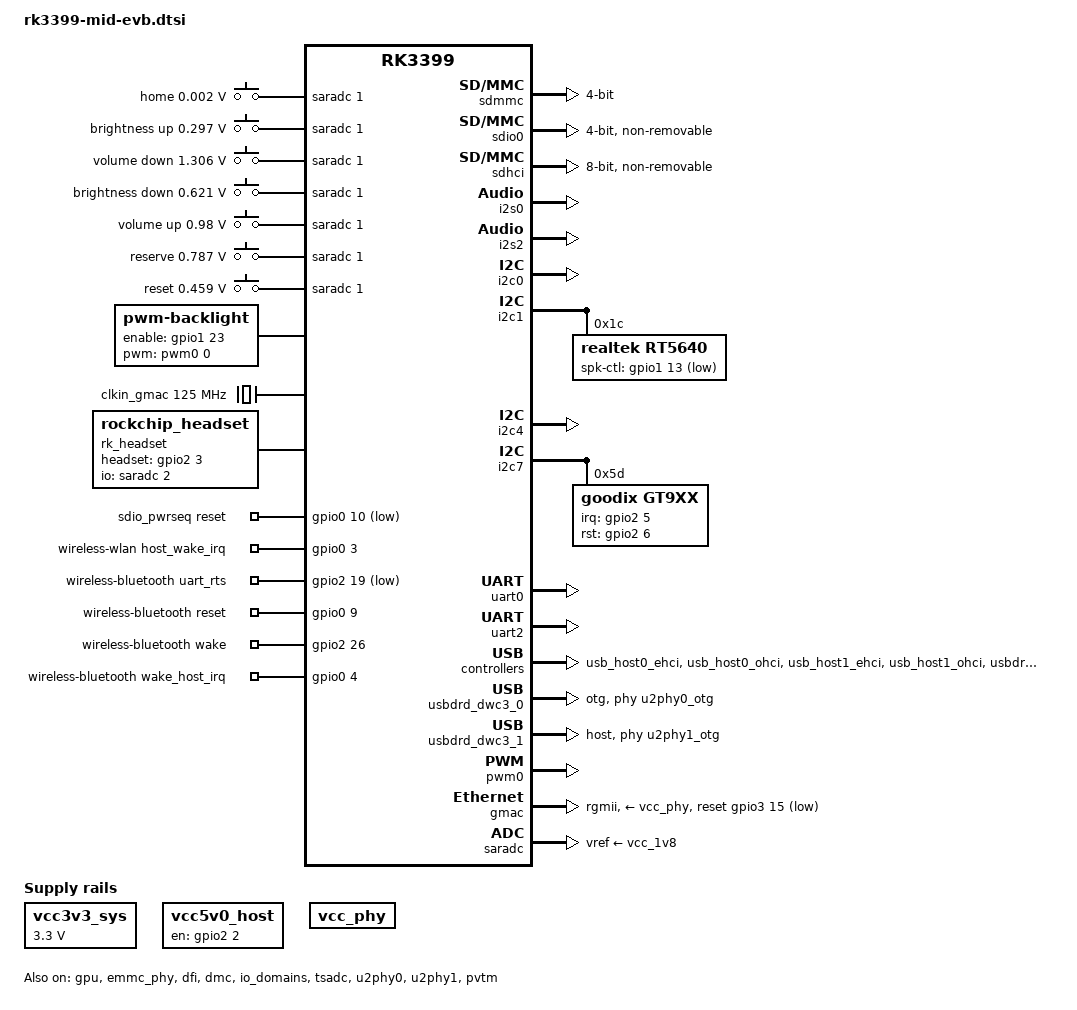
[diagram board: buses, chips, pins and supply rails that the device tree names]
/*
 * Copyright (c) 2016 Fuzhou Rockchip Electronics Co., Ltd
 *
 * This file is dual-licensed: you can use it either under the terms
 * of the GPL or the X11 license, at your option. Note that this dual
 * licensing only applies to this file, and not this project as a
 * whole.
 *
 *  a) This file is free software; you can redistribute it and/or
 *     modify it under the terms of the GNU General Public License as
 *     published by the Free Software Foundation; either version 2 of the
 *     License, or (at your option) any later version.
 *
 *     This file is distributed in the hope that it will be useful,
 *     but WITHOUT ANY WARRANTY; without even the implied warranty of
 *     MERCHANTABILITY or FITNESS FOR A PARTICULAR PURPOSE.  See the
 *     GNU General Public License for more details.
 *
 * Or, alternatively,
 *
 *  b) Permission is hereby granted, free of charge, to any person
 *     obtaining a copy of this software and associated documentation
 *     files (the "Software"), to deal in the Software without
 *     restriction, including without limitation the rights to use,
 *     copy, modify, merge, publish, distribute, sublicense, and/or
 *     sell copies of the Software, and to permit persons to whom the
 *     Software is furnished to do so, subject to the following
 *     conditions:
 *
 *     The above copyright notice and this permission notice shall be
 *     included in all copies or substantial portions of the Software.
 *
 *     THE SOFTWARE IS PROVIDED "AS IS", WITHOUT WARRANTY OF ANY KIND,
 *     EXPRESS OR IMPLIED, INCLUDING BUT NOT LIMITED TO THE WARRANTIES
 *     OF MERCHANTABILITY, FITNESS FOR A PARTICULAR PURPOSE AND
 *     NONINFRINGEMENT. IN NO EVENT SHALL THE AUTHORS OR COPYRIGHT
 *     HOLDERS BE LIABLE FOR ANY CLAIM, DAMAGES OR OTHER LIABILITY,
 *     WHETHER IN AN ACTION OF CONTRACT, TORT OR OTHERWISE, ARISING
 *     FROM, OUT OF OR IN CONNECTION WITH THE SOFTWARE OR THE USE OR
 *     OTHER DEALINGS IN THE SOFTWARE.
 */

#include <dt-bindings/input/input.h>
#include <dt-bindings/pwm/pwm.h>
#include "rk3399.dtsi"
#include "rk3399-opp.dtsi"

/ {
	compatible = "rockchip,rk3399-evb", "rockchip,rk3399";

	adc_keys: adc-keys {
		compatible = "adc-keys";
		io-channels = <&saradc 1>;
		io-channel-names = "buttons";
		keyup-threshold-microvolt = <1800000>;
		poll-interval = <100>;

		home-key {
			label = "home";
			linux,code = <KEY_HOME>;
			press-threshold-microvolt = <1750>;
		};

		brightness-up-key {
			label = "brightness up";
			linux,code = <KEY_BRIGHTNESSUP>;
			press-threshold-microvolt = <297500>;
		};

		vol-down-key {
			label = "volume down";
			linux,code = <KEY_VOLUMEDOWN>;
			press-threshold-microvolt = <1305500>;
		};

		brightness-down-key {
			label = "brightness down";
			linux,code = <KEY_BRIGHTNESSDOWN>;
			press-threshold-microvolt = <621250>;
		};

		vol-up-key {
			label = "volume up";
			linux,code = <KEY_VOLUMEUP>;
			press-threshold-microvolt = <980000>;
		};

		reserve-key {
			label = "reserve";
			linux,code = <KEY_RESERVE>;
			press-threshold-microvolt = <787500>;
		};

		reset-key {
			label = "reset";
			linux,code = <KEY_RESET>;
			press-threshold-microvolt = <459380>;
		};
	};

	vcc3v3_sys: vcc3v3-sys {
		compatible = "regulator-fixed";
		regulator-name = "vcc3v3_sys";
		regulator-always-on;
		regulator-boot-on;
		regulator-min-microvolt = <3300000>;
		regulator-max-microvolt = <3300000>;
	};

	vcc5v0_host: vcc5v0-host-regulator {
		compatible = "regulator-fixed";
		enable-active-high;
		gpio = <&gpio2 2 GPIO_ACTIVE_HIGH>;
		pinctrl-names = "default";
		pinctrl-0 = <&host_vbus_drv>;
		regulator-name = "vcc5v0_host";
		regulator-always-on;
	};

	backlight: backlight {
		status ="okay";
		compatible = "pwm-backlight";
		pwms = <&pwm0 0 2500000 0>;

		brightness-levels = <
			80  80  80  80  80  80  80  80
			80  80  80  80  80  80  80  80
			80  80  80  80  80  80  80  80
			80  80  80  80  80  80  80  80
			80  80  80  80  80  80  80  80
			80  81  82  83  84  85  86  87
			88  89  90  91  92  93  94  95
			96  97  98  99  100 101 102 103
			104 105 106 107 108 109 110 111
			112 113 114 115 116 117 118 119
			120 121 122 123 124 125 126 127
			128 129 130 131 132 133 134 135
			136 137 138 139 140 141 142 143
			144 145 146 147 148 149 150 151
			152 153 154 155 156 157 158 159
			160 161 162 163 164 165 166 167
			168 169 170 171 172 173 174 175
			176 177 178 179 180 181 182 183
			184 185 186 187 188 189 190 191
			192 193 194 195 196 197 198 199
			200 201 202 203 204 205 206 207
			208 209 210 211 212 213 214 215
			216 217 218 219 220 221 222 223
			224 225 226 227 228 229 230 231
			232 233 234 235 236 237 238 239
			240 241 242 243 244 245 246 247
			248 249 250 251 252 253 253 253
			253 253 253 253 253 253 253 253
			253 253 253 253 253 253 253 253
			253 253 253 253 253 253 253 253
			253 253 253 253 253 253 253 253
			253 253 253 253 253 253 253 253>;
		brightness-levels2 = <
			253 253 253 253 253 253 253 253
			253 253 253 253 253 253 253 253
			253 253 253 253 253 253 253 253
			253 253 253 253 253 253 253 253
			253 253 253 253 253 253 253 253
			253 253 253 252 251 250 249 248
			247 246 245 244 243 242 241 240
			239 238 237 236 235 234 233 232
			231 230 229 228 227 226 225 224
			223 222 221 220 219 218 217 216
			215 214 213 212 211 210 209 208
			207 206 205 204 203 202 201 200
			199 198 197 196 195 194 193 192
			191 190 189 188 187 186 185 184
			183 182 181 180 179 178 177 176
			175 174 173 172 171 170 169 168
			167 166 165 164 163 162 161 160
			159 158 157 156 155 154 153 152
			151 150 149 148 147 146 145 144
			143 142 141 140 139 138 137 136
			135 134 133 132 131 130 129 128
			127 126 125 124 123 122 121 120
			119 118 117 116 115 114 113 112
			111 110 109 108 107 106 105 104
			232 233 234 235 236 237 238 239
			240 241 242 243 244 245 246 247
			103 102 101 100 99  98  97  96
			95  94  93  92  91  90  89  88
			87  86  85  84  83  82  81  80
			80  80  80  80  80  80  80  80
			80  80  80  80  80  80  80  80
			80  80  80  80  80  80  80  80>;
		default-brightness-level = <200>;
		enable-gpios = <&gpio1 23 GPIO_ACTIVE_HIGH>;
	};

	clkin_gmac: external-gmac-clock {
		compatible = "fixed-clock";
		clock-frequency = <125000000>;
		clock-output-names = "clkin_gmac";
		#clock-cells = <0>;
	};

	vcc_phy: vcc-phy-regulator {
		compatible = "regulator-fixed";
		regulator-name = "vcc_phy";
		regulator-always-on;
		regulator-boot-on;
	};

	rt5640-sound {
		status = "okay";
		compatible = "simple-audio-card";
		simple-audio-card,format = "i2s";
		simple-audio-card,name = "rockchip,rt5640-codec";
		simple-audio-card,mclk-fs = <256>;
		simple-audio-card,widgets =
			"Microphone", "Mic Jack",
			"Headphone", "Headphone Jack";
		simple-audio-card,routing =
			"Mic Jack", "MICBIAS1",
			"IN1P", "Mic Jack",
			"Headphone Jack", "HPOL",
			"Headphone Jack", "HPOR";
		simple-audio-card,cpu {
			sound-dai = <&i2s0>;
		};
		simple-audio-card,codec {
			sound-dai = <&rt5640>;
		};
	};
	
	rk_headset {
		compatible = "rockchip_headset";
		headset_gpio = <&gpio2 3 GPIO_ACTIVE_HIGH>;
		pinctrl-names = "default";
		pinctrl-0 = <&hp_det>;
		io-channels = <&saradc 2>;
		status = "okay";
	};

	hdmi_sound: hdmi-sound {
		status = "okay";
		compatible = "simple-audio-card";
		simple-audio-card,format = "i2s";
		simple-audio-card,mclk-fs = <256>;
		simple-audio-card,name = "rockchip,hdmi";
		simple-audio-card,cpu {
			sound-dai = <&i2s2>;
		};
		simple-audio-card,codec {
			sound-dai = <&hdmi>;
		};
	};

	dw_hdmi_audio: dw-hdmi-audio {
		status = "disabled";
		compatible = "rockchip,dw-hdmi-audio";
		#sound-dai-cells = <0>;
	};

	spdif_sound: spdif-sound {
		status = "disabled";
		compatible = "simple-audio-card";
		simple-audio-card,name = "ROCKCHIP,SPDIF";
		simple-audio-card,cpu {
			sound-dai = <&spdif>;
		};
		simple-audio-card,codec {
			sound-dai = <&spdif_out>;
		};
	};

	spdif_out: spdif-out {
		status = "disabled";
		compatible = "linux,spdif-dit";
		#sound-dai-cells = <0>;
	};

	sdio_pwrseq: sdio-pwrseq {
		compatible = "mmc-pwrseq-simple";
		clocks = <&rk808 1>;
		clock-names = "ext_clock";
		pinctrl-names = "default";
		pinctrl-0 = <&wifi_enable_h>;

		/*
		 * On the module itself this is one of these (depending
		 * on the actual card populated):
		 * - SDIO_RESET_L_WL_REG_ON
		 * - PDN (power down when low)
		 */
		reset-gpios = <&gpio0 10 GPIO_ACTIVE_LOW>; /* GPIO0_B2 */
	};

	wireless-wlan {
		compatible = "wlan-platdata";
		rockchip,grf = <&grf>;
		wifi_chip_type = "ap6354";
		sdio_vref = <1800>;
		WIFI,host_wake_irq = <&gpio0 3 GPIO_ACTIVE_HIGH>; /* GPIO0_a3 */
		status = "okay";
	};

	wireless-bluetooth {
		compatible = "bluetooth-platdata";
		clocks = <&rk808 1>;
		clock-names = "ext_clock";
		//wifi-bt-power-toggle;
		uart_rts_gpios = <&gpio2 19 GPIO_ACTIVE_LOW>; /* GPIO2_C3 */
		pinctrl-names = "default", "rts_gpio";
		pinctrl-0 = <&uart0_rts>, <&bt_reset_gpio>, <&bt_wake_gpio>, <&bt_irq_gpio>;
		pinctrl-1 = <&uart0_gpios>;
		//BT,power_gpio  = <&gpio3 19 GPIO_ACTIVE_HIGH>; /* GPIOx_xx */
		BT,reset_gpio    = <&gpio0 9 GPIO_ACTIVE_HIGH>; /* GPIO0_B1 */
		BT,wake_gpio     = <&gpio2 26 GPIO_ACTIVE_HIGH>; /* GPIO2_D2 */
		BT,wake_host_irq = <&gpio0 4 GPIO_ACTIVE_HIGH>; /* GPIO0_A4 */
		status = "okay";
	};

	test-power {
		status = "okay";
	};
};

&cpu_l0 {
	cpu-supply = <&vdd_cpu_l>;
};

&cpu_l1 {
	cpu-supply = <&vdd_cpu_l>;
};

&cpu_l2 {
	cpu-supply = <&vdd_cpu_l>;
};

&cpu_l3 {
	cpu-supply = <&vdd_cpu_l>;
};

&cpu_b0 {
	cpu-supply = <&vdd_cpu_b>;
};

&cpu_b1 {
	cpu-supply = <&vdd_cpu_b>;
};

&gpu {
	status = "okay";
	mali-supply = <&vdd_gpu>;
};

&sdmmc {
	clock-frequency = <150000000>;
	clock-freq-min-max = <400000 150000000>;
	supports-sd;
	bus-width = <4>;
	cap-mmc-highspeed;
	cap-sd-highspeed;
	disable-wp;
	num-slots = <1>;
	//sd-uhs-sdr104;
	vqmmc-supply = <&vcc_sd>;
	pinctrl-names = "default";
	pinctrl-0 = <&sdmmc_clk &sdmmc_cmd &sdmmc_cd &sdmmc_bus4>;
	status = "okay";
};

&sdio0 {
	clock-frequency = <150000000>;
	clock-freq-min-max = <200000 150000000>;
	supports-sdio;
	bus-width = <4>;
	disable-wp;
	cap-sd-highspeed;
	cap-sdio-irq;
	keep-power-in-suspend;
	mmc-pwrseq = <&sdio_pwrseq>;
	non-removable;
	num-slots = <1>;
	pinctrl-names = "default";
	pinctrl-0 = <&sdio0_bus4 &sdio0_cmd &sdio0_clk>;
	sd-uhs-sdr104;
	status = "okay";
};

&emmc_phy {
	status = "okay";
};

&dfi {
	status = "okay";
};

&dmc {
	status = "okay";
	center-supply = <&vdd_center>;
	upthreshold = <40>;
	downdifferential = <20>;
	system-status-freq = <
		/*system status         freq(KHz)*/
		SYS_STATUS_NORMAL       800000
		SYS_STATUS_REBOOT       528000
		SYS_STATUS_SUSPEND      200000
		SYS_STATUS_VIDEO_1080P  200000
		SYS_STATUS_VIDEO_4K     600000
		SYS_STATUS_VIDEO_4K_10B 800000
		SYS_STATUS_PERFORMANCE  800000
		SYS_STATUS_BOOST        400000
		SYS_STATUS_DUALVIEW     600000
		SYS_STATUS_ISP          600000
	>;
	vop-bw-dmc-freq = <
	/* min_bw(MB/s) max_bw(MB/s) freq(KHz) */
		0       577      200000
		578     1701     300000
		1702    99999    400000
	>;
	auto-min-freq = <200000>;
};

&sdhci {
	bus-width = <8>;
	mmc-hs400-1_8v;
	supports-emmc;
	non-removable;
	keep-power-in-suspend;
	mmc-hs400-enhanced-strobe;
	status = "okay";
};

&i2s0 {
	status = "okay";
	rockchip,i2s-broken-burst-len;
	rockchip,playback-channels = <8>;
	rockchip,capture-channels = <8>;
	#sound-dai-cells = <0>;
};

&i2s2 {
	status = "okay";
	#sound-dai-cells = <0>;
};

&spdif {
	#sound-dai-cells = <0>;
};

&i2c0 {
	status = "okay";
	i2c-scl-rising-time-ns = <450>;
	i2c-scl-falling-time-ns = <15>;
};

&i2c1 {
	status = "okay";
	i2c-scl-rising-time-ns = <300>;
	i2c-scl-falling-time-ns = <15>;

	rt5640: rt5640@1c {
		status = "okay";
		#sound-dai-cells = <0>;
		compatible = "realtek,rt5640";
		reg = <0x1c>;
		clocks = <&cru SCLK_I2S_8CH_OUT>;
		clock-names = "mclk";
		spk-ctl-gpio = <&gpio1 13 GPIO_ACTIVE_LOW>;
		realtek,in1-differential;
		pinctrl-names = "default";
		pinctrl-0 = <&i2s_8ch_mclk>;
	};
};

&i2c4 {
	status = "okay";
	i2c-scl-rising-time-ns = <600>;
	i2c-scl-falling-time-ns = <20>;

};

&i2c7 {
	status = "okay";
	i2c-scl-rising-time-ns = <345>;
	i2c-scl-falling-time-ns = <11>;
	gt9xx: gt9xx@5d {
		compatible = "goodix,gt9xx";
		reg = <0x5d>;
		goodix,irq-gpio = <&gpio2 5 IRQ_TYPE_LEVEL_LOW>;
		goodix,rst-gpio = <&gpio2 6 GPIO_ACTIVE_HIGH>;
		max-x = <1366>;
		max-y = <768>;
//		tp-size = <911>;
//		tp-supply = <&vcc3v0_tp>;
	};
};

&io_domains {
	status = "okay";

	bt656-supply = <&vcc3v0_tp>;
	audio-supply = <&vcca1v8_codec>;
	sdmmc-supply = <&vcc_sd>;
	gpio1830-supply = <&vcc_3v0>;
};

&pcie_phy {
	status = "disabled";
};

&pcie0 {
	ep-gpios = <&gpio3 13 GPIO_ACTIVE_HIGH>;
	num-lanes = <4>;
	pinctrl-names = "default";
	pinctrl-0 = <&pcie_clkreqn_cpm>;
	status = "disabled";
};

&tcphy0 {
	extcon = <&fusb0>;
	status = "disabled";
};

&tcphy1 {
	extcon = <&fusb1>;
	status = "disabled";
};

&tsadc {
	rockchip,hw-tshut-mode = <1>; /* tshut mode 0:CRU 1:GPIO */
	rockchip,hw-tshut-polarity = <1>; /* tshut polarity 0:LOW 1:HIGH */
	status = "okay";
};

&u2phy0 {
	status = "okay";

	u2phy0_otg: otg-port {
		status = "okay";
	};

	u2phy0_host: host-port {
		phy-supply = <&vcc5v0_host>;
		status = "okay";
	};
};

&u2phy1 {
	status = "okay";

	u2phy1_otg: otg-port {
		status = "okay";
	};

	u2phy1_host: host-port {
		phy-supply = <&vcc5v0_host>;
		status = "okay";
	};
};

&uart0 {
	pinctrl-names = "default";
	pinctrl-0 = <&uart0_xfer &uart0_cts>;
	status = "okay";
};

&uart2 {
	status = "okay";
};

&usb_host0_ehci {
	status = "okay";
};

&usb_host0_ohci {
	status = "okay";
};

&usb_host1_ehci {
	status = "okay";
};

&usb_host1_ohci {
	status = "okay";
};

&usbdrd3_0 {
	extcon = <&u2phy0>;
	status = "okay";
};

&usbdrd_dwc3_0 {
	status = "okay";
	dr_mode = "otg";
	extcon = <&u2phy0>;
	phys = <&u2phy0_otg>;
	phy-names = "usb2-phy";
	maximum-speed = "high-speed";
};

&usbdrd3_1 {
	extcon = <&u2phy1>;
	status = "okay";
};

&usbdrd_dwc3_1 {
	status = "okay";
	dr_mode = "host";
	phys = <&u2phy1_otg>;
	phy-names = "usb2-phy";
	maximum-speed = "high-speed";
};

&pwm0 {
	status = "okay";
};

&gmac {
	phy-supply = <&vcc_phy>;
	phy-mode = "rgmii";
	clock_in_out = "input";
	snps,reset-gpio = <&gpio3 15 GPIO_ACTIVE_LOW>;
	snps,reset-active-low;
	snps,reset-delays-us = <0 10000 50000>;
	assigned-clocks = <&cru SCLK_RMII_SRC>;
	assigned-clock-parents = <&clkin_gmac>;
	pinctrl-names = "default";
	pinctrl-0 = <&rgmii_pins>;
	tx_delay = <0x28>;
	rx_delay = <0x11>;
	status = "okay";
};

&saradc {
	status = "okay";
	vref-supply = <&vcc_1v8>;
};

&pinctrl {
	sdio-pwrseq {
		wifi_enable_h: wifi-enable-h {
			rockchip,pins = <0 RK_PB2 RK_FUNC_GPIO &pcfg_pull_none>;
		};
	};

	wireless-bluetooth {
		uart0_gpios: uart0-gpios {
			rockchip,pins =
				<2 RK_PC3 RK_FUNC_GPIO &pcfg_pull_none>;
		};
		bt_reset_gpio: bt-reset-gpio {
			rockchip,pins =
				<0 RK_PB1 RK_FUNC_GPIO &pcfg_pull_none>;
		};
		bt_wake_gpio: bt-wake-gpio {
			rockchip,pins =
				<2 RK_PD2 RK_FUNC_GPIO &pcfg_pull_none>;
		};
		bt_irq_gpio: bt-irq-gpio {
			rockchip,pins =
				<0 RK_PA4 RK_FUNC_GPIO &pcfg_pull_down>;
		};
	};

	pmic {
		pmic_int_l: pmic-int-l {
			rockchip,pins =
				<1 RK_PC5 RK_FUNC_GPIO &pcfg_pull_up>;
		};

		pmic_dvs2: pmic-dvs2 {
			rockchip,pins =
				<1 RK_PC2 RK_FUNC_GPIO &pcfg_pull_down>;
		};
		vsel1_gpio: vsel1-gpio {
			rockchip,pins =
				<1 RK_PC1 RK_FUNC_GPIO &pcfg_pull_down>;
		};
		vsel2_gpio: vsel2-gpio {
			rockchip,pins =
				<1 RK_PB6 RK_FUNC_GPIO &pcfg_pull_down>;
		};
	};

	usb2 {
		host_vbus_drv: host-vbus-drv {
			rockchip,pins =
				<2 RK_PA2 RK_FUNC_GPIO &pcfg_pull_none>;
		};
	};
	
	headphone {
		hp_det: hp-det {
				rockchip,pins = <2 3 RK_FUNC_GPIO &pcfg_pull_up>;
		};
	};

	fusb30x {
		fusb0_int: fusb0-int {
			rockchip,pins = <1 RK_PA2 RK_FUNC_GPIO &pcfg_pull_up>;
		};

		fusb1_int: fusb1-int {
			rockchip,pins = <1 RK_PD0 RK_FUNC_GPIO &pcfg_pull_up>;
		};
	};
};

&pvtm {
	status = "okay";
};

&pmu_pvtm {
	status = "okay";
};

&pmu_io_domains {
	status = "okay";
	pmu1830-supply = <&vcc1v8_pmu>;
};

